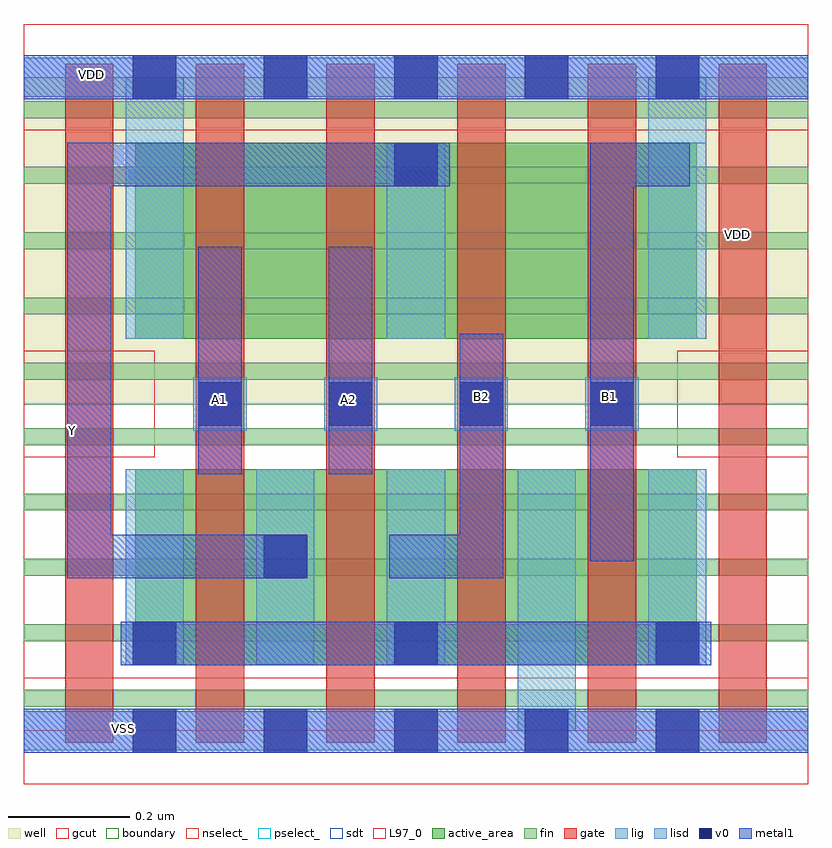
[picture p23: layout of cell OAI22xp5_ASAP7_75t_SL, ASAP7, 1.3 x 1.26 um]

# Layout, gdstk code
import gdstk
lib = gdstk.Library(unit=1e-6, precision=2.5e-10)
def R(c, l, rs):  # rectangles x0, y0, x1, y1
    for r in rs: c.add(gdstk.rectangle(r[:2], r[2:], *l))
def A(c, l, x, y, w, h, nx, ny, dx, dy):  # array of equal rectangles
    R(c, l, [(x+i*dx, y+j*dy, x+i*dx+w, y+j*dy+h) for i in range(nx) for j in range(ny)])
def P(c, l, *ps):  # polygons
    for p in ps: c.add(gdstk.Polygon(p, *l))
well = (1, 0)
fin = (2, 0)
gate = (7, 0)
gcut = (10, 0)
active_area = (11, 0)
nselect_ = (12, 0)
pselect_ = (13, 0)
lig = (16, 0)
lisd = (17, 0)
v0 = (18, 0)
metal1 = (19, 0)
sdt = (88, 0)
L97_0 = (97, 0)
boundary = (100, 0)

oai22xp5_asap7_75t_sl = lib.new_cell('OAI22xp5_ASAP7_75t_SL')
R(oai22xp5_asap7_75t_sl, well, [(0,0.54,1.296,1.08)])
A(oai22xp5_asap7_75t_sl, fin, 0, 0.04, 1.296, 0.028, 1, 10, 0, 0.108)
A(oai22xp5_asap7_75t_sl, gate, 0.068, -0.02, 0.08, 1.122, 6, 1, 0.216, 0)
R(oai22xp5_asap7_75t_sl, gcut, [(0,-0.088,1.296,0.088), (0,0.452,0.216,0.628), (1.08,0.452,1.296,0.628), (0,0.992,1.296,1.168)])
R(oai22xp5_asap7_75t_sl, active_area, [(0.184,0.108,1.112,0.432), (0.184,0.648,1.112,0.972)])
R(oai22xp5_asap7_75t_sl, nselect_, [(0,0,1.296,0.54)])
R(oai22xp5_asap7_75t_sl, pselect_, [(0,0.54,1.296,1.08)])
A(oai22xp5_asap7_75t_sl, lig, 0.28, 0.496, 0.088, 0.088, 4, 1, 0.216, 0)
R(oai22xp5_asap7_75t_sl, lig, [(0,-0.032,1.296,0.032), (0,1.048,1.296,1.112)])
A(oai22xp5_asap7_75t_sl, lisd, 0.168, 0.108, 0.096, 0.324, 3, 1, 0.216, 0)
R(oai22xp5_asap7_75t_sl, lisd, [(0.816,0,0.912,0.432), (1.032,0.108,1.128,0.432), (0.168,0.648,0.264,1.08), (0.6,0.648,0.696,0.972), (1.032,0.648,1.128,1.08)])
A(oai22xp5_asap7_75t_sl, v0, 0.18, -0.036, 0.072, 0.072, 5, 2, 0.216, 1.08)
A(oai22xp5_asap7_75t_sl, v0, 0.18, 0.108, 0.072, 0.072, 3, 1, 0.432, 0)
A(oai22xp5_asap7_75t_sl, v0, 0.288, 0.504, 0.072, 0.072, 4, 1, 0.216, 0)
R(oai22xp5_asap7_75t_sl, v0, [(0.396,0.252,0.468,0.324), (0.612,0.9,0.684,0.972)])
R(oai22xp5_asap7_75t_sl, metal1, [(0,-0.036,1.296,0.036), (0.16,0.108,1.136,0.18), (0.288,0.424,0.36,0.8), (0.504,0.424,0.576,0.8), (0,1.044,1.296,1.116)])
P(oai22xp5_asap7_75t_sl, metal1, [(0.792,0.656),(0.72,0.656),(0.72,0.324),(0.604,0.324),(0.604,0.252),(0.792,0.252)],
  [(1.1,0.972),(0.936,0.972),(0.936,0.28),(1.008,0.28),(1.008,0.9),(1.1,0.9)],
  [(0.704,0.972),(0.072,0.972),(0.072,0.252),(0.468,0.252),(0.468,0.324),(0.144,0.324),(0.144,0.9),(0.704,0.9)])
A(oai22xp5_asap7_75t_sl, sdt, 0.168, 0.108, 0.096, 0.324, 5, 1, 0.216, 0)
A(oai22xp5_asap7_75t_sl, sdt, 0.168, 0.648, 0.096, 0.324, 3, 1, 0.432, 0)
R(oai22xp5_asap7_75t_sl, L97_0, [(0,0,1.296,1.08)])
R(oai22xp5_asap7_75t_sl, boundary, [(0,0,1.296,1.08)])
oai22xp5_asap7_75t_sl.add(gdstk.Label('Y', (0.08,0.496), layer=19, texttype=251))
oai22xp5_asap7_75t_sl.add(gdstk.Label('A1', (0.324,0.548), layer=19, texttype=251))
oai22xp5_asap7_75t_sl.add(gdstk.Label('B1', (0.968,0.552), layer=19, texttype=251))
oai22xp5_asap7_75t_sl.add(gdstk.Label('B2', (0.756,0.552), layer=19, texttype=251))
oai22xp5_asap7_75t_sl.add(gdstk.Label('A2', (0.536,0.548), layer=19, texttype=251))
oai22xp5_asap7_75t_sl.add(gdstk.Label('VSS', (0.164,0.004), layer=19, texttype=251))
oai22xp5_asap7_75t_sl.add(gdstk.Label('VDD', (0.112,1.084), layer=19, texttype=251))
oai22xp5_asap7_75t_sl.add(gdstk.Label('VDD', (1.18,0.82), layer=1, texttype=251))
oai22xp5_asap7_75t_sl.add(gdstk.Label('VSS', (1.456,0.816), layer=3, texttype=251))

lib.write_gds('OAI22xp5_ASAP7_75t_SL.gds')
